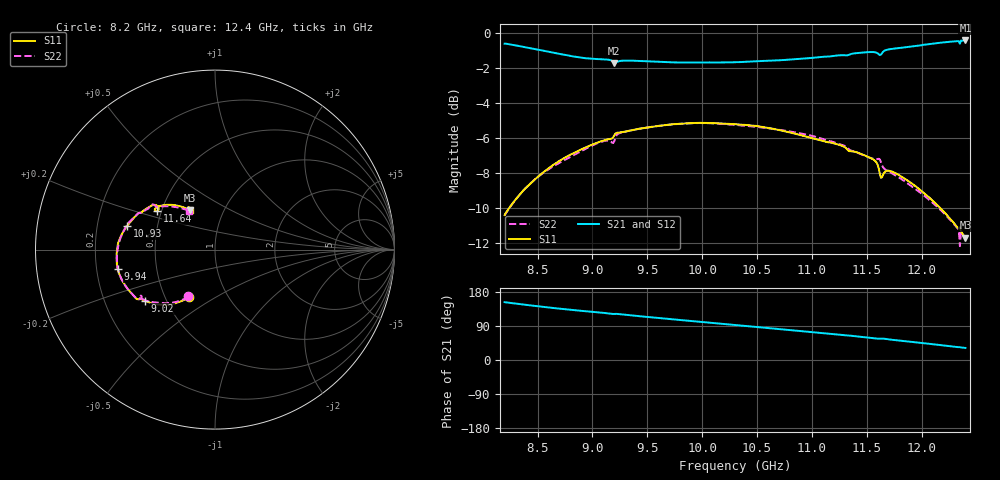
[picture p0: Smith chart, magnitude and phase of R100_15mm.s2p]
#  HZ  S  MA  R  50.00
! Rohde & Schwarz ZVA67 4Ports - Version 4.11 - 1305.7002k04 SN: 101051
! Date: 2023-04-26 10:46:17
! Measurements: S11 S21 S12 S22
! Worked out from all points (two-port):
!   421 points, 8.2 GHz to 12.4 GHz, reference 50 ohm
!   highest |S21| = -0.44 dB at 12.4 GHz (marker M1); lowest = -1.7 dB at 9.2 GHz (marker M2)
!   |S21| within 3 dB of the highest: start of sweep to end of sweep
!   lowest |S11| = -11.7 dB at 12.4 GHz (marker M3), VSWR 1.70, Z = 34.7 + j16.3 ohm
!   |S11| at or under -10 dB: start of sweep to 8.243 GHz; 12.17 GHz to end of sweep
!   |S22| runs from -12.2 to -5.2 dB; largest |S21 - S12| = 0.0043
!   S11 on the Smith chart (normalised r, x): 8.2 GHz: 0.66, -0.38; 9.02 GHz: 0.38, -0.28; 9.94 GHz: 0.29, -0.09; 10.93 GHz: 0.33, +0.12; 11.64 GHz: 0.47, +0.24; 12.4 GHz: 0.69, +0.33
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8.2e9  0.3016 -119.1  0.9306 152.6  0.9313 152.5  0.3004 -120.0
8.49e9  0.3846 -128.1  0.8964 142.2  0.8968 142.0  0.3846 -129.5
8.68e9  0.4267 -133.9  0.8728 136.1  0.8733 135.9  0.4221 -135.2
8.9e9  0.4647 -140.3  0.8485 129.8  0.8503 129.8  0.4596 -140.6
9.02e9  0.4822 -143.6  0.8418 126.6  0.8433 126.6  0.4799 -143.8
9.16e9  0.4972 -147.0  0.8359 122.4  0.8378 122.4  0.4905 -148.1
9.2e9  0.51 -147.0  0.8186 121.6  0.8202 121.5  0.4905 -146.6
9.23e9  0.5183 -148.9  0.8266 121.5  0.8284 121.5  0.5136 -147.9
9.29e9  0.5214 -151.0  0.8321 119.7  0.8338 119.6  0.5212 -150.7
9.6e9  0.5417 -159.7  0.8259 110.9  0.8272 110.8  0.5421 -159.7
9.94e9  0.5526 -168.7  0.8221 101.8  0.8236 101.7  0.552 -168.7
1.03e10  0.548 -178.1  0.8238 92.3  0.8252 92.2  0.5456 -177.9
1.057e10  0.5372 174.6  0.8308 85.1  0.8325 85.0  0.5349 175.3
1.093e10  0.5069 165.0  0.8433 75.5  0.8447 75.4  0.5134 166.0
1.1e10  0.5002 163.2  0.8473 73.6  0.8486 73.5  0.5077 164.0
1.131e10  0.469 154.0  0.8618 65.1  0.8633 64.9  0.4735 154.8
1.154e10  0.4382 147.3  0.8807 58.2  0.8822 58.0  0.4383 149.0
1.16e10  0.4199 143.6  0.8734 56.2  0.875 56.0  0.4361 146.9
1.164e10  0.3865 146.3  0.8744 56.8  0.876 56.6  0.4185 143.6
1.17e10  0.4038 145.3  0.8962 54.4  0.8978 54.3  0.4019 143.7
1.202e10  0.3492 134.4  0.9235 44.3  0.9236 44.2  0.3434 135.6
1.24e10  0.2598 122.4  0.9503 31.9  0.9508 31.7  0.2587 124.3
